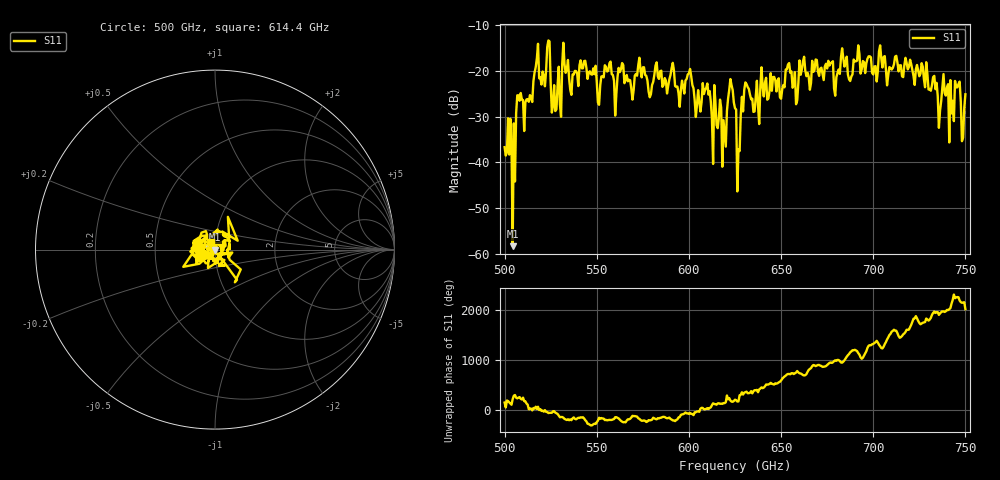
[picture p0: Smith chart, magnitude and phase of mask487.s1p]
!Created with skrf (http://scikit-rf.org).
# GHz S MA R 50.0
!freq magS11 angS11
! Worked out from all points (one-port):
!   401 points, 500 GHz to 750 GHz, reference 50 ohm
!   lowest |S11| = -58.3 dB at 504.4 GHz (marker M1), VSWR 1.00, Z = 49.9 - j0.0805 ohm
!   |S11| at or under -10 dB: start of sweep to end of sweep
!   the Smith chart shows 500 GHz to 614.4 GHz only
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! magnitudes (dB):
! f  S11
! 500 GHz  -36.7
! 502.5 GHz  -38.3
! 504.4 GHz  -58.3
! 507.5 GHz  -25.4
! 511.9 GHz  -26.3
! 516.9 GHz  -19.3
! 520.6 GHz  -20.2
! 523.8 GHz  -13.4
! 526.9 GHz  -23.2
! 531.2 GHz  -18.6
! 562.5 GHz  -20.3
! 579.4 GHz  -25.2
! 590.6 GHz  -19.4
! 593.8 GHz  -23.5
! 610 GHz  -22.8
! 619.4 GHz  -33.7
! 622.5 GHz  -21.8
! 625 GHz  -28.2
! 626.9 GHz  -37.2
! 631.2 GHz  -22.9
! 636.9 GHz  -22.2
! 656.2 GHz  -23.7
! 680 GHz  -21.5
! 684.4 GHz  -19.1
! 687.5 GHz  -22.3
! 691.2 GHz  -17.8
! 718.8 GHz  -19.7
! 750 GHz  -25.2
